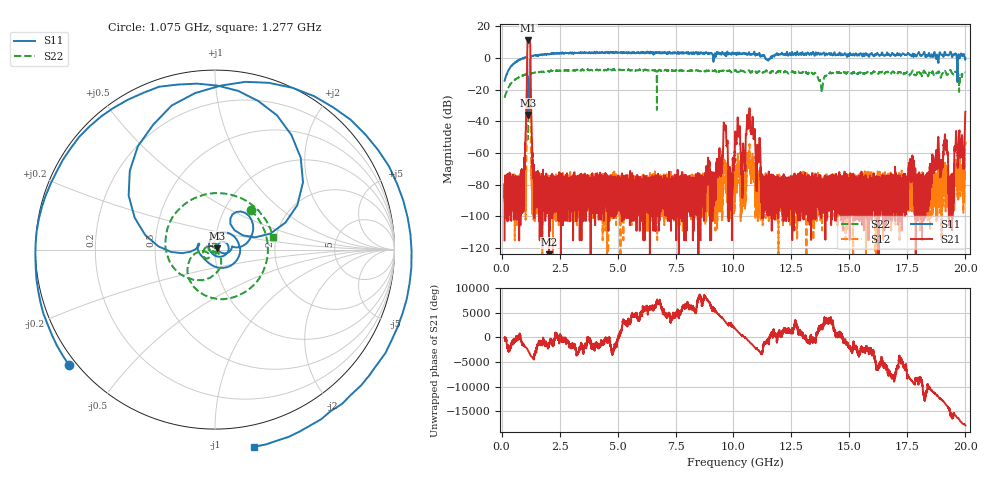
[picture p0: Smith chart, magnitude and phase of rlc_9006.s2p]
!Created with skrf (http://scikit-rf.org).
# GHz S RI R 50.0
!freq ReS11 ImS11 ReS21 ImS21 ReS12 ImS12 ReS22 ImS22
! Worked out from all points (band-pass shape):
!   20013 points, 130 MHz to 20 GHz, reference 50 ohm
!   highest |S21| = 11.14 dB at 1.152 GHz (marker M1); lowest = -178.6 dB at 2.047 GHz (marker M2)
!   |S21| within 3 dB of the highest: 1.111 GHz to 1.235 GHz (124 MHz wide, 10.6 % of centre)
!   lowest |S11| = -36.0 dB at 1.156 GHz (marker M3), VSWR 1.03, Z = 51.4 + j0.811 ohm
!   |S11| at or under -10 dB: start of sweep to 230.7 MHz; 1.113 GHz to 1.234 GHz (121 MHz wide, 10.3 % of centre); 19.65551 GHz to 19.66195 GHz (6.442 MHz wide, 0.0328 % of centre) (the widest 3 of 4)
!   |S22| runs from -51.2 to -7.0 dB; largest |S21 - S12| = 3.7
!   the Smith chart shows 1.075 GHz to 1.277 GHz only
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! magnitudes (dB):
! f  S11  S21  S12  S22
! 130 MHz  -14.3  -115.2  -83.8  -25.1
! 900 MHz  0.0  -85.6  -82.3  -11.0
! 998 MHz  0.4  -67.0  -82.8  -10.5
! 1.152 GHz  -28.2  11.1  -22.7  -37.0
! 1.156 GHz  -36.0  11.1  -22.6  -38.0
! 1.429 GHz  1.8  -86.9  -79.0  -9.1
! 2.047 GHz  2.5  -178.6  -83.6  -8.4
! 3.442 GHz  3.1  -81.7  -84.5  -7.8
! 6.754 GHz  3.1  -75.0  -91.9  -8.0
! 9.125 GHz  -0.3  -81.0  -80.4  -8.3
! 9.649 GHz  3.3  -45.3  -67.8  -8.9
! 9.865 GHz  3.0  -84.8  -93.9  -8.4
! 10.06 GHz  2.9  -54.4  -87.4  -7.7
! 10.42 GHz  2.7  -54.7  -93.4  -8.1
! 10.66 GHz  3.7  -39.8  -65.5  -7.7
! 11.29 GHz  1.5  -77.4  -83.9  -8.9
! 13.38 GHz  2.4  -77.2  -77.8  -9.3
! 16.69 GHz  2.1  -83.3  -86.8  -9.5
! 18.33 GHz  1.6  -80.5  -85.4  -8.9
! 19.14 GHz  2.7  -56.6  -96.9  -8.8
! 19.41 GHz  1.1  -83.5  -83.0  -9.2
! 20 GHz  0.2  -33.9  -53.0  -9.0
